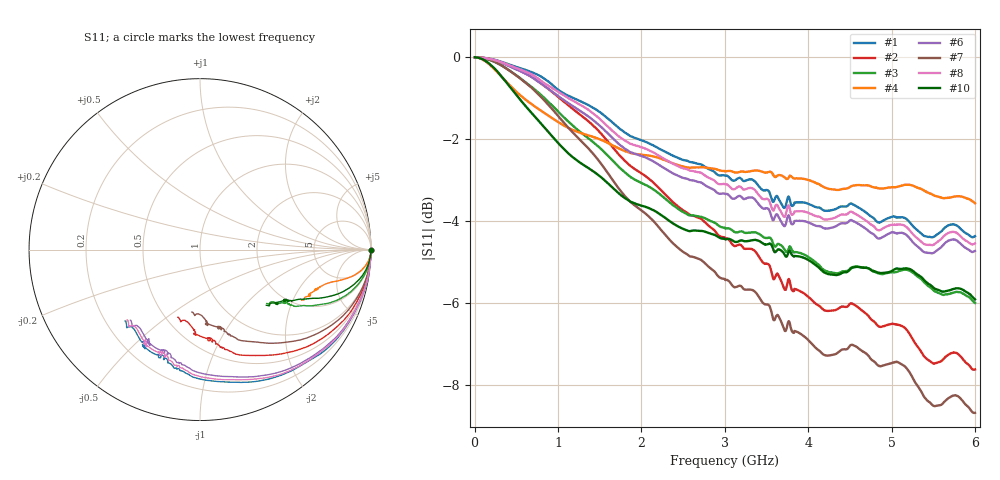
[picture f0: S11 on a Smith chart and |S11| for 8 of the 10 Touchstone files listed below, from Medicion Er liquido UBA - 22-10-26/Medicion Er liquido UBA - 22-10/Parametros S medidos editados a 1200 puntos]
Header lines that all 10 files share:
# Hz S RI R 50.000000
! Metas.Vna.Tools, 3.0.9519.15400
! Metas.Vna.Data, 3.0.9519.15360
! FREQ  re:S1,1  im:S1,1
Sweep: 5 MHz to 6 GHz
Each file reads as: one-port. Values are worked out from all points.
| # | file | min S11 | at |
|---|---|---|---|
| 1 | muestra4a224-1200p.s1p | -4.4 dB | 5.485 GHz |
| 2 | muestra5a224-1200p.s1p | -7.6 dB | 5.99 GHz |
| 3 | muestra6a225-1200p.s1p | -6.0 dB | 6 GHz |
| 4 | muestra7a225-1200p.s1p | -3.6 dB | 6 GHz |
| 5 | muestra8a225-1200p.s1p | -8.2 dB | 6 GHz |
| 6 | muestra9a226-1200p.s1p | -4.8 dB | 5.485 GHz |
| 7 | muestra10a227-1200p.s1p | -8.7 dB | 5.99 GHz |
| 8 | muestra11a228-1200p.s1p | -4.6 dB | 5.475 GHz |
| 9 | muestra12a228-1200p.s1p | -8.6 dB | 6 GHz |
| 10 | muestra13a228-1200p.s1p | -5.9 dB | 6 GHz |
